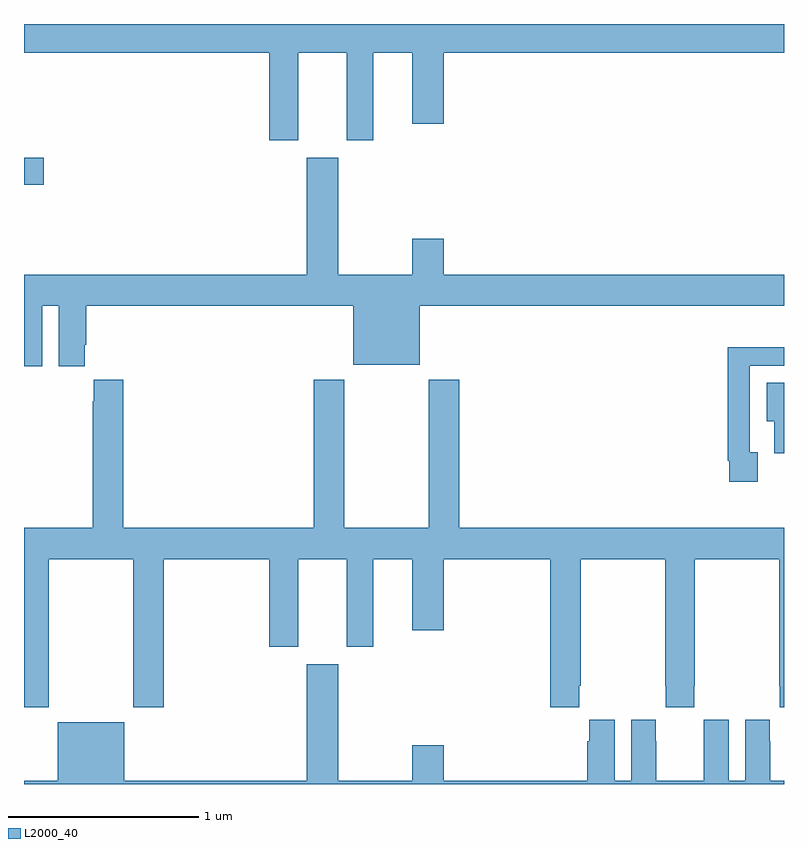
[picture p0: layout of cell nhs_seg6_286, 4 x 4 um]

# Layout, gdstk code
import gdstk
lib = gdstk.Library(unit=1e-6, precision=1e-09)
def R(c, l, rs):  # rectangles x0, y0, x1, y1
    for r in rs: c.add(gdstk.rectangle(r[:2], r[2:], *l))
def P(c, l, *ps):  # polygons
    for p in ps: c.add(gdstk.Polygon(p, *l))
L2000_40 = (2000, 40)

nhs_seg6_286 = lib.new_cell('nhs_seg6_286')
R(nhs_seg6_286, L2000_40, [(127,934.654,127.105,934.796)])
P(nhs_seg6_286, L2000_40, [(131,935.5),(127,935.5),(127,935.348),(128.291,935.348),(128.291,934.887),(128.443,934.887),(128.443,935.348),(128.699,935.348),(128.699,934.887),(128.839,934.887),(128.839,935.348),(129.044,935.348),(129.044,934.974),(129.208,934.974),(129.208,935.348),(131,935.348)],
  [(127.096,934.016),(127.184,934.016),(127.184,933.699),(127.321,933.699),(127.321,933.811),(127.328,933.811),(127.328,934.016),(128.732,934.016),(128.732,933.707),(129.082,933.707),(129.082,934.016),(131,934.016),(131,934.18),(129.208,934.18),(129.208,934.369),(129.044,934.369),(129.044,934.18),(128.653,934.18),(128.653,934.795),(128.489,934.795),(128.489,934.18),(127,934.18),(127,933.699),(127.096,933.699)],
  [(130.861,933.246),(130.821,933.246),(130.821,933.702),(131,933.702),(131,933.798),(130.997,933.798),(130.997,933.8),(130.705,933.8),(130.705,933.202),(130.713,933.202),(130.713,933.09),(130.861,933.09)],
  [(128.699,932.223),(128.839,932.223),(128.839,932.684),(129.044,932.684),(129.044,932.31),(129.208,932.31),(129.208,932.684),(129.77,932.684),(129.77,931.905),(129.923,931.905),(129.923,932.017),(129.93,932.017),(129.93,932.684),(130.375,932.684),(130.375,932.017),(130.377,932.017),(130.377,931.905),(130.527,931.905),(130.527,932.017),(130.53,932.017),(130.53,932.684),(130.975,932.684),(130.975,932.017),(130.977,932.017),(130.977,931.905),(131,931.905),(131,932.848),(129.29,932.848),(129.29,933.628),(129.13,933.628),(129.13,932.848),(128.685,932.848),(128.685,933.628),(128.525,933.628),(128.525,932.848),(127.523,932.848),(127.523,933.628),(127.367,933.628),(127.367,933.515),(127.363,933.515),(127.363,932.848),(127,932.848),(127,931.905),(127.131,931.905),(127.131,932.684),(127.576,932.684),(127.576,931.905),(127.736,931.905),(127.736,932.684),(128.291,932.684),(128.291,932.223),(128.443,932.223),(128.443,932.684),(128.699,932.684)],
  [(131,933.613),(130.91,933.613),(130.91,933.41),(130.949,933.41),(130.949,933.242),(131,933.242)],
  [(129.044,931.705),(129.044,931.516),(128.653,931.516),(128.653,932.131),(128.489,932.131),(128.489,931.516),(127.528,931.516),(127.528,931.825),(127.178,931.825),(127.178,931.516),(127,931.516),(127,931.5),(131,931.5),(131,931.516),(130.927,931.516),(130.927,931.724),(130.926,931.724),(130.926,931.837),(130.796,931.837),(130.796,931.516),(130.708,931.516),(130.708,931.837),(130.578,931.837),(130.578,931.724),(130.577,931.724),(130.577,931.516),(130.327,931.516),(130.327,931.724),(130.326,931.724),(130.326,931.837),(130.196,931.837),(130.196,931.516),(130.108,931.516),(130.108,931.837),(129.974,931.837),(129.974,931.724),(129.965,931.724),(129.965,931.516),(129.208,931.516),(129.208,931.705)])

lib.write_gds('nhs_seg6_286.gds')
